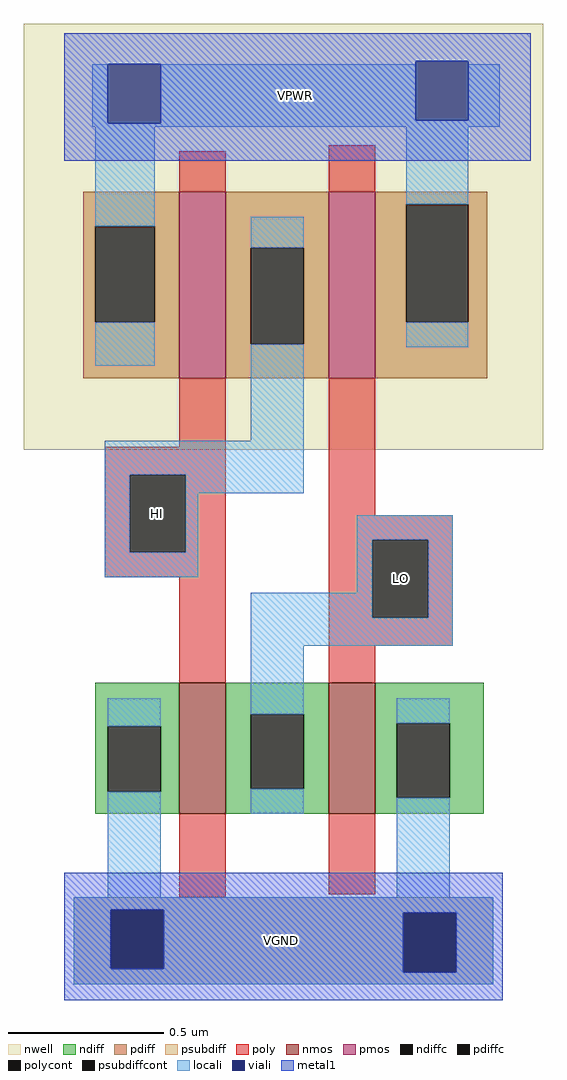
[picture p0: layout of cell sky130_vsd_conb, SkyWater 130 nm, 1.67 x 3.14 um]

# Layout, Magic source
magic
tech sky130A
<< nwell >>
rect -13 156 154 293
<< nmos >>
rect 37 39 52 81
rect 85 39 100 81
<< pmos >>
rect 37 179 52 239
rect 85 179 100 239
<< ndiff >>
rect 10 67 37 81
rect 10 46 14 67
rect 31 46 37 67
rect 10 39 37 46
rect 52 71 85 81
rect 52 47 60 71
rect 77 47 85 71
rect 52 39 85 47
rect 100 68 135 81
rect 100 44 107 68
rect 124 44 135 68
rect 100 39 135 44
<< pdiff >>
rect 6 228 37 239
rect 6 197 10 228
rect 29 197 37 228
rect 6 179 37 197
rect 52 221 85 239
rect 52 190 60 221
rect 77 190 85 221
rect 52 179 85 190
rect 100 235 136 239
rect 100 197 110 235
rect 130 197 136 235
rect 100 179 136 197
<< ndiffc >>
rect 14 46 31 67
rect 60 47 77 71
rect 107 44 124 68
<< pdiffc >>
rect 10 197 29 228
rect 60 190 77 221
rect 110 197 130 235
<< psubdiff >>
rect 3 8 138 12
rect 3 -11 15 8
rect 32 7 138 8
rect 32 -11 109 7
rect 3 -12 109 -11
rect 126 -12 138 7
rect 3 -16 138 -12
<< psubdiffcont >>
rect 15 -11 32 8
rect 109 -12 126 7
<< poly >>
rect 37 239 52 252
rect 85 239 100 254
rect 37 157 52 179
rect 13 148 52 157
rect 13 123 21 148
rect 39 123 52 148
rect 13 115 52 123
rect 37 81 52 115
rect 85 135 100 179
rect 85 127 125 135
rect 85 102 99 127
rect 117 102 125 127
rect 85 93 125 102
rect 85 81 100 93
rect 37 12 52 39
rect 85 13 100 39
<< polycont >>
rect 21 123 39 148
rect 99 102 117 127
<< locali >>
rect 9 261 14 280
rect 31 262 113 280
rect 130 262 140 280
rect 31 261 140 262
rect 9 260 140 261
rect 10 228 29 260
rect 110 235 130 260
rect 10 183 29 197
rect 60 221 77 231
rect 60 159 77 190
rect 110 189 130 197
rect 13 148 77 159
rect 13 123 21 148
rect 39 142 77 148
rect 39 123 43 142
rect 13 115 43 123
rect 94 127 125 135
rect 94 110 99 127
rect 60 102 99 110
rect 117 102 125 127
rect 60 93 125 102
rect 14 67 31 76
rect 14 12 31 46
rect 60 71 77 93
rect 60 39 77 47
rect 107 68 124 76
rect 107 12 124 44
rect 3 8 138 12
rect 3 -11 15 8
rect 32 7 138 8
rect 32 -11 109 7
rect 3 -12 109 -11
rect 126 -12 138 7
rect 3 -16 138 -12
<< viali >>
rect 14 261 31 280
rect 113 262 130 281
rect 15 -11 32 8
rect 109 -12 126 7
<< metal1 >>
rect 0 281 150 290
rect 0 280 113 281
rect 0 261 14 280
rect 31 262 113 280
rect 130 262 150 281
rect 31 261 150 262
rect 0 249 150 261
rect 0 8 141 20
rect 0 -11 15 8
rect 32 7 141 8
rect 32 -11 109 7
rect 0 -12 109 -11
rect 126 -12 141 7
rect 0 -21 141 -12
<< labels >>
flabel locali 21 123 39 148 0 FreeSans 120 0 0 0 HI
port 0 nsew signal input
flabel metal1 4 -16 136 12 0 FreeSans 120 0 0 0 VGND
port 2 nsew ground bidirectional
flabel metal1 9 260 140 280 0 FreeSans 120 0 0 0 VPWR
port 3 nsew power bidirectional
flabel locali 9 260 140 280 0 FreeSans 120 0 0 0 VPB
port 4 nsew power bidirectional
flabel locali 99 102 117 127 0 FreeSans 120 0 0 0 LO
port 1 nsew signal output
<< properties >>
string FIXED_BBOX 0 0 200 272
<< end >>
